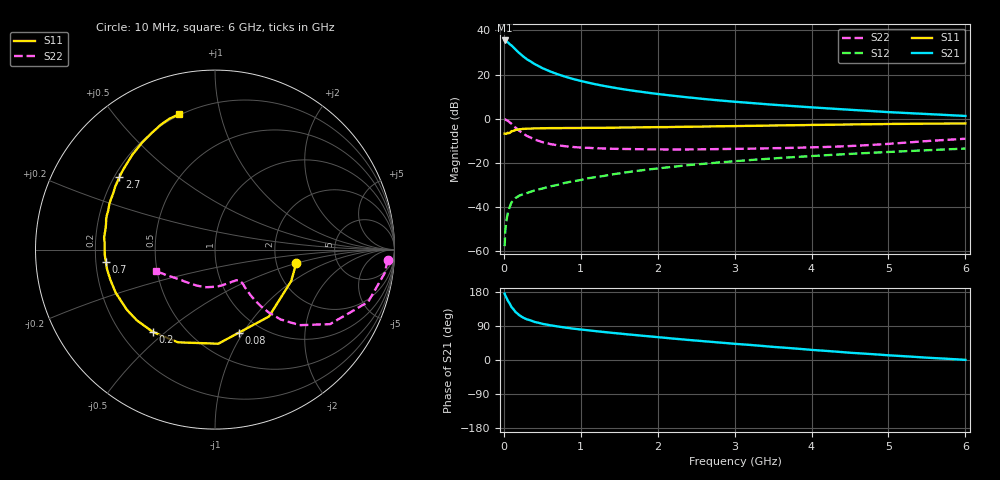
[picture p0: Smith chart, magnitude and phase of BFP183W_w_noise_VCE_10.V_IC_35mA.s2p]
! Infineon Technologies  Discrete & RF Semiconductors
! BFP183W
! VCE =  10. V,  IC =  35 mA
! Common Emitter S-Parameters:  Jan 2017
# GHz  S  MA  R  50
!  f  S11  S21  S12  S22
! GHz  MAG  ANG  MAG  ANG  MAG  ANG  MAG  ANG
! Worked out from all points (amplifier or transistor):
!   77 points, 10 MHz to 6 GHz, reference 50 ohm
!   highest |S21| = 35.4 dB at 10 MHz (marker M1)
!   |S21| within 3 dB of that: start of sweep to 120.6 MHz
!   unconditionally stable (mu >= 1): 932.5 MHz to 3.394 GHz
!   at 130 MHz: K = 0.31, MSG = 34.4 dB, |S12| = -36.7 dB
!   at 2.2 GHz: K = 1.07, MAG = 14.5 dB, |S12| = -21.8 dB
!   at 6 GHz: K = 0.86, MSG = 7.4 dB, |S12| = -13.5 dB
!   lowest NFmin = 1.51 dB at 450 MHz
!   S11 on the Smith chart (normalised r, x): 10 MHz: 2.59, -0.49; 80 MHz: 0.79, -0.96; 200 MHz: 0.33, -0.45; 700 MHz: 0.24, -0.05; 2.7 GHz: 0.22, +0.32; 6 GHz: 0.20, +0.75
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0.01  0.4592 -9.3  58.99 175.0  0.0013 77.9  0.9629 -3.4
0.02  0.4594 -22.5  57.73 170.0  0.0031 87.4  0.9556 -7.7
0.05  0.4789 -51.1  54.06 157.3  0.0071 69.6  0.9016 -18.9
0.08  0.4819 -74.2  48.28 147.4  0.0104 64.6  0.8124 -26.8
0.1  0.5247 -88.0  45.4 139.5  0.0127 62.8  0.7631 -33.0
0.15  0.5563 -111.8  37.11 127.2  0.0159 53.5  0.6313 -41.8
0.2  0.5747 -127.0  30.62 118.4  0.0181 50.4  0.5336 -46.8
0.25  0.5873 -137.8  25.82 111.9  0.0195 48.8  0.4604 -49.5
0.3  0.5946 -145.7  22.16 107.3  0.0207 48.9  0.406 -51.0
0.4  0.6032 -156.5  17.23 100.4  0.0238 50.1  0.3364 -52.0
0.5  0.6066 -163.7  13.97 95.6  0.0262 52.5  0.2947 -51.9
0.6  0.6112 -169.4  11.78 91.7  0.0292 53.7  0.2674 -51.5
0.7  0.6117 -173.6  10.13 88.5  0.0318 56.5  0.2491 -51.0
0.9  0.6149 179.3  7.915 82.8  0.0382 58.8  0.2288 -51.3
1.1  0.6214 173.8  6.518 78.3  0.045 60.7  0.2184 -52.1
1.5  0.6293 164.6  4.798 69.9  0.0577 62.4  0.2067 -56.3
2.1  0.6456 152.8  3.461 58.5  0.0781 61.7  0.2013 -67.5
2.7  0.6679 142.9  2.691 47.9  0.0987 59.6  0.2039 -82.6
3.1  0.6833 136.7  2.346 41.3  0.1123 57.6  0.208 -93.1
4.1  0.7246 123.0  1.761 25.3  0.1459 52.0  0.2267 -119.5
5.1  0.7611 112.5  1.38 11.2  0.1796 45.8  0.2769 -145.8
6  0.7796 104.7  1.153 0.3  0.2104 39.6  0.3516 -160.2
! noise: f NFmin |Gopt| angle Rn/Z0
0.45  1.51  0.29  -177  0.1
0.9  1.56  0.32  -176  0.1
1.9  2.05  0.47  -154  0.11
2.4  2.31  0.51  -151  0.16
